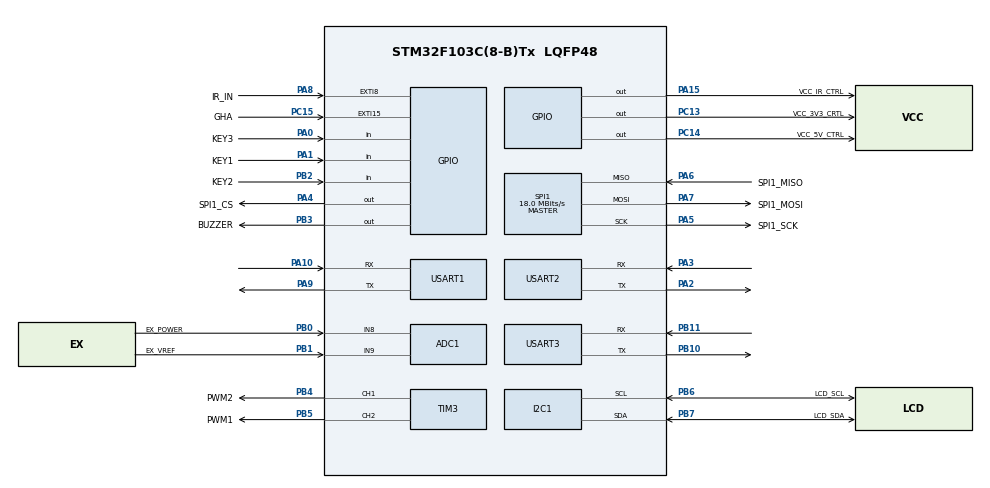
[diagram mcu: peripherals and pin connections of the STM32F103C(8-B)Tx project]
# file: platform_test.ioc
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ADC1.Channel-0\#ChannelRegularConversion=ADC_CHANNEL_8
ADC1.Channel-1\#ChannelRegularConversion=ADC_CHANNEL_9
ADC1.ContinuousConvMode=ENABLE
ADC1.NbrOfConversion=2
ADC1.NbrOfConversionFlag=1
ADC1.Rank-0\#ChannelRegularConversion=1
ADC1.Rank-1\#ChannelRegularConversion=2
ADC1.SamplingTime-0\#ChannelRegularConversion=ADC_SAMPLETIME_239CYCLES_5
ADC1.SamplingTime-1\#ChannelRegularConversion=ADC_SAMPLETIME_239CYCLES_5
ADC1.master=1
Dma.ADC1.0.Direction=DMA_PERIPH_TO_MEMORY
Dma.ADC1.0.Instance=DMA1_Channel1
Dma.ADC1.0.MemDataAlignment=DMA_MDATAALIGN_HALFWORD
Dma.ADC1.0.MemInc=DMA_MINC_ENABLE
Dma.ADC1.0.Mode=DMA_CIRCULAR
Dma.ADC1.0.PeriphDataAlignment=DMA_PDATAALIGN_HALFWORD
Dma.ADC1.0.PeriphInc=DMA_PINC_DISABLE
Dma.ADC1.0.Priority=DMA_PRIORITY_LOW
Dma.Request0=ADC1
I2C1.I2C_Mode=I2C_Fast
I2C1.OwnAddress=0
Mcu.Family=STM32F1
Mcu.Name=STM32F103C(8-B)Tx
Mcu.Package=LQFP48
NVIC.DMA1_Channel1_IRQn=true\:0\:0\:false\:false\:true\:false\:true\:true
NVIC.EXTI9_5_IRQn=true\:0\:0\:false\:false\:true\:true\:true\:true
NVIC.PriorityGroup=NVIC_PRIORITYGROUP_4
PA0-WKUP.GPIO_Label=KEY3
PA0-WKUP.GPIO_PuPd=GPIO_PULLDOWN
PA0-WKUP.Signal=GPIO_Input
PA1.GPIO_Label=KEY1
PA1.GPIO_PuPd=GPIO_PULLDOWN
PA1.Signal=GPIO_Input
PA10.Mode=Asynchronous
PA10.Signal=USART1_RX
PA13.Mode=Serial_Wire
PA13.Signal=SYS_JTMS-SWDIO
PA14.Mode=Serial_Wire
PA14.Signal=SYS_JTCK-SWCLK
PA15.GPIO_Label=VCC_IR_CTRL
PA15.Signal=GPIO_Output
PA2.Mode=Asynchronous
PA2.Signal=USART2_TX
PA3.Mode=Asynchronous
PA3.Signal=USART2_RX
PA4.GPIO_Label=SPI1_CS
PA4.Signal=GPIO_Output
PA5.GPIO_Label=SPI1_SCK
PA5.Mode=Full_Duplex_Master
PA5.Signal=SPI1_SCK
PA6.GPIO_Label=SPI1_MISO
PA6.Mode=Full_Duplex_Master
PA6.Signal=SPI1_MISO
PA7.GPIO_Label=SPI1_MOSI
PA7.Mode=Full_Duplex_Master
PA7.Signal=SPI1_MOSI
PA8.GPIO_Label=IR_IN
PA8.GPIO_ModeDefaultEXTI=GPIO_MODE_IT_RISING_FALLING
PA8.GPIO_PuPd=GPIO_PULLDOWN
PA8.Signal=GPXTI8
PA9.Mode=Asynchronous
PA9.Signal=USART1_TX
PB0.GPIO_Label=EX_POWER
PB0.Signal=ADCx_IN8
PB1.GPIO_Label=EX_VREF
PB1.Signal=ADCx_IN9
PB10.Mode=Asynchronous
PB10.Signal=USART3_TX
PB11.Mode=Asynchronous
PB11.Signal=USART3_RX
PB2.GPIO_Label=KEY2
PB2.GPIO_PuPd=GPIO_PULLDOWN
PB2.Signal=GPIO_Input
PB3.GPIO_Label=BUZZER
PB3.GPIO_PuPd=GPIO_PULLDOWN
PB3.GPIO_Speed=GPIO_SPEED_FREQ_LOW
PB3.Signal=GPIO_Output
PB4.GPIO_Label=PWM2
PB4.Signal=S_TIM3_CH1
PB5.GPIO_Label=PWM1
PB5.Signal=S_TIM3_CH2
PB6.GPIO_Label=LCD_SCL
PB6.Mode=I2C
PB6.Signal=I2C1_SCL
PB7.GPIO_Label=LCD_SDA
PB7.Mode=I2C
PB7.Signal=I2C1_SDA
PC13-TAMPER-RTC.GPIO_Label=VCC_3V3_CRTL
PC13-TAMPER-RTC.Signal=GPIO_Output
PC14-OSC32_IN.GPIO_Label=VCC_5V_CTRL
PC14-OSC32_IN.Signal=GPIO_Output
PC15-OSC32_OUT.GPIO_Label=GHA
PC15-OSC32_OUT.Signal=GPXTI15
PD0-OSC_IN.Mode=HSE-External-Oscillator
PD0-OSC_IN.Signal=RCC_OSC_IN
PD1-OSC_OUT.Mode=HSE-External-Oscillator
PD1-OSC_OUT.Signal=RCC_OSC_OUT
ProjectManager.HeapSize=0x200
ProjectManager.StackSize=0x400
ProjectManager.TargetToolchain=MDK-ARM V5.32
RCC.ADCPresc=RCC_ADCPCLK2_DIV6
RCC.AHBFreq_Value=72000000
RCC.APB1CLKDivider=RCC_HCLK_DIV2
RCC.APB1Freq_Value=36000000
RCC.APB1TimFreq_Value=72000000
RCC.APB2Freq_Value=72000000
RCC.APB2TimFreq_Value=72000000
RCC.HCLKFreq_Value=72000000
RCC.PLLMUL=RCC_PLL_MUL9
RCC.PLLSourceVirtual=RCC_PLLSOURCE_HSE
RCC.SYSCLKFreq_VALUE=72000000
RCC.SYSCLKSource=RCC_SYSCLKSOURCE_PLLCLK
RCC.USBFreq_Value=72000000
SH.ADCx_IN8.0=ADC1_IN8,IN8
SH.ADCx_IN9.0=ADC1_IN9,IN9
SH.S_TIM3_CH1.0=TIM3_CH1,PWM Generation1 CH1
SH.S_TIM3_CH2.0=TIM3_CH2,PWM Generation2 CH2
SPI1.BaudRatePrescaler=SPI_BAUDRATEPRESCALER_4
SPI1.CalculateBaudRate=18.0 MBits/s
SPI1.Direction=SPI_DIRECTION_2LINES
SPI1.Mode=SPI_MODE_MASTER
SPI1.VirtualType=VM_MASTER
TIM3.Channel-PWM\ Generation1\ CH1=TIM_CHANNEL_1
TIM3.Channel-PWM\ Generation2\ CH2=TIM_CHANNEL_2
USART1.VirtualMode=VM_ASYNC
USART2.VirtualMode=VM_ASYNC
USART3.VirtualMode=VM_ASYNC
VP_TIM3_VS_ClockSourceINT.Mode=Internal
VP_TIM4_VS_ClockSourceINT.Mode=Internal
board=custom

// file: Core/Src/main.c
/* USER CODE BEGIN Header */
/**
 ******************************************************************************
 * @file           : main.c
 * @brief          : Main program body
 ******************************************************************************
 * @attention
 *
 * Copyright (c) 2023 STMicroelectronics.
 * All rights reserved.
 *
 * This software is licensed under terms that can be found in the LICENSE file
 * in the root directory of this software component.
 * If no LICENSE file comes with this software, it is provided AS-IS.
 *
 ******************************************************************************
 */
/* USER CODE END Header */
#include "main.h"
#include "adc.h"
#include "dma.h"
#include "i2c.h"
#include "spi.h"
#include "tim.h"
#include "usart.h"
#include "gpio.h"

void SystemClock_Config(void);

/* USER CODE BEGIN 0 */

struct Button btn1;
struct Button btn2;
struct Button btn3;

uint8_t read_button_GPIO(uint8_t button_id)
{
	// you can share the GPIO read function with multiple Buttons
	switch(button_id)
	{
		case 1:
			return LL_GPIO_IsInputPinSet(KEY1_GPIO_Port, KEY1_Pin);
			break;
		case 2:
			return LL_GPIO_IsInputPinSet(KEY2_GPIO_Port, KEY2_Pin);
			break;
		case 3:
			return LL_GPIO_IsInputPinSet(KEY3_GPIO_Port, KEY3_Pin);
			break;
		default:
			return 0;
			break;
	}
}

void button_callback(void *button)
{
	struct Button *btn = button;
	gui_btn_send_signal(btn->button_id,btn->event);
#if 0
	switch(btn->event)
	{
	 case PRESS_DOWN:
//			 LOG_INFO("---> key%d press down! <---\r\n",btn->button_id);
		break;

	 case PRESS_UP:
//			 LOG_INFO("---> key%d press up! <---\r\n",btn->button_id);
				gui_btn_send_signal(btn->button_id,btn->event);
		break;

	 case PRESS_REPEAT:
//			 LOG_INFO("---> key%d press repeat! <---\r\n",btn->button_id);
		break;

	 case SINGLE_CLICK:
//			 LOG_INFO("---> key%d single click! <---\r\n",btn->button_id);
		break;

	 case DOUBLE_CLICK:
//			 LOG_INFO("---> key%d double click! <***\r\n",btn->button_id);
		break;

	 case LONG_PRESS_START:
//			 LOG_INFO("---> key%d long press start! <---\r\n",btn->button_id);
		break;

	 case LONG_PRESS_HOLD:
//			 LOG_INFO("---> key%d long press hold! <***\r\n",btn->button_id);
		break;
 }
#endif
}

void button_tick(void)
{
  static uint8_t tickstart = 0;
	tickstart++;
  if(tickstart < 5)
		return;
	tickstart = 0;
	button_ticks();
}

/* USER CODE END 0 */

int main(void)
{

  /* MCU Configuration--------------------------------------------------------*/

  /* Reset of all peripherals, Initializes the Flash interface and the Systick. */
  HAL_Init();

  /* Configure the system clock */
  SystemClock_Config();

  /* Initialize all configured peripherals */
  MX_GPIO_Init();
  MX_DMA_Init();
  MX_I2C1_Init();
  MX_SPI1_Init();
  MX_TIM3_Init();
  MX_USART1_UART_Init();
  MX_USART2_UART_Init();
  MX_USART3_UART_Init();
  MX_TIM4_Init();
  MX_ADC1_Init();
  /* USER CODE BEGIN 2 */
  LL_mDelay(50);
	LOG_INFO("init\r\n");

	power_monitor_init();
	buzzer_init();
	buzzer_on(500);
	LL_GPIO_SetOutputPin(VCC_3V3_CRTL_GPIO_Port, VCC_3V3_CRTL_Pin);

	button_init(&btn1, read_button_GPIO, 1, 1);
	button_attach(&btn1, PRESS_DOWN,       button_callback);
	button_attach(&btn1, PRESS_UP,         button_callback);
//	button_attach(&btn1, PRESS_REPEAT,     button_callback);
//	button_attach(&btn1, SINGLE_CLICK,     button_callback);
//	button_attach(&btn1, DOUBLE_CLICK,     button_callback);
//	button_attach(&btn1, LONG_PRESS_START, button_callback);
	button_attach(&btn1, LONG_PRESS_HOLD, button_callback);
	button_start(&btn1);

	button_init(&btn2, read_button_GPIO, 1, 2);
	button_attach(&btn2, PRESS_DOWN,       button_callback);
	button_attach(&btn2, PRESS_UP,         button_callback);
//	button_attach(&btn2, PRESS_REPEAT,     button_callback);
//	button_attach(&btn2, SINGLE_CLICK,     button_callback);
//	button_attach(&btn2, DOUBLE_CLICK,     button_callback);
	button_attach(&btn2, LONG_PRESS_START, button_callback);
	button_start(&btn2);

	button_init(&btn3, read_button_GPIO, 1, 3);
	button_attach(&btn3, PRESS_DOWN,       button_callback);
	button_attach(&btn3, PRESS_UP,         button_callback);
	button_attach(&btn3, PRESS_REPEAT,     button_callback);
//	button_attach(&btn3, SINGLE_CLICK,     button_callback);
//	button_attach(&btn3, DOUBLE_CLICK,     button_callback);
//	button_attach(&btn3, LONG_PRESS_START, button_callback);
	button_attach(&btn3, LONG_PRESS_HOLD, button_callback);
	button_start(&btn3);

	gui_init();
  /* USER CODE END 2 */

  /* Infinite loop */
  while (1)
  {

    /* USER CODE BEGIN 3 */
		gui_task();
  }
  /* USER CODE END 3 */
}

void SystemClock_Config(void)
{
  LL_FLASH_SetLatency(LL_FLASH_LATENCY_2);
  while(LL_FLASH_GetLatency()!= LL_FLASH_LATENCY_2)
  {
  }
  LL_RCC_HSE_Enable();

   /* Wait till HSE is ready */
  while(LL_RCC_HSE_IsReady() != 1)
  {

  }
  LL_RCC_PLL_ConfigDomain_SYS(LL_RCC_PLLSOURCE_HSE_DIV_1, LL_RCC_PLL_MUL_9);
  LL_RCC_PLL_Enable();

   /* Wait till PLL is ready */
  while(LL_RCC_PLL_IsReady() != 1)
  {

  }
  LL_RCC_SetAHBPrescaler(LL_RCC_SYSCLK_DIV_1);
  LL_RCC_SetAPB1Prescaler(LL_RCC_APB1_DIV_2);
  LL_RCC_SetAPB2Prescaler(LL_RCC_APB2_DIV_1);
  LL_RCC_SetSysClkSource(LL_RCC_SYS_CLKSOURCE_PLL);

   /* Wait till System clock is ready */
  while(LL_RCC_GetSysClkSource() != LL_RCC_SYS_CLKSOURCE_STATUS_PLL)
  {

  }
  LL_SetSystemCoreClock(72000000);

   /* Update the time base */
  if (HAL_InitTick (TICK_INT_PRIORITY) != HAL_OK)
  {
    Error_Handler();
  }
  LL_RCC_SetADCClockSource(LL_RCC_ADC_CLKSRC_PCLK2_DIV_6);
}

void Error_Handler(void)
{
  __disable_irq();
  while (1)
  {
  }
}
